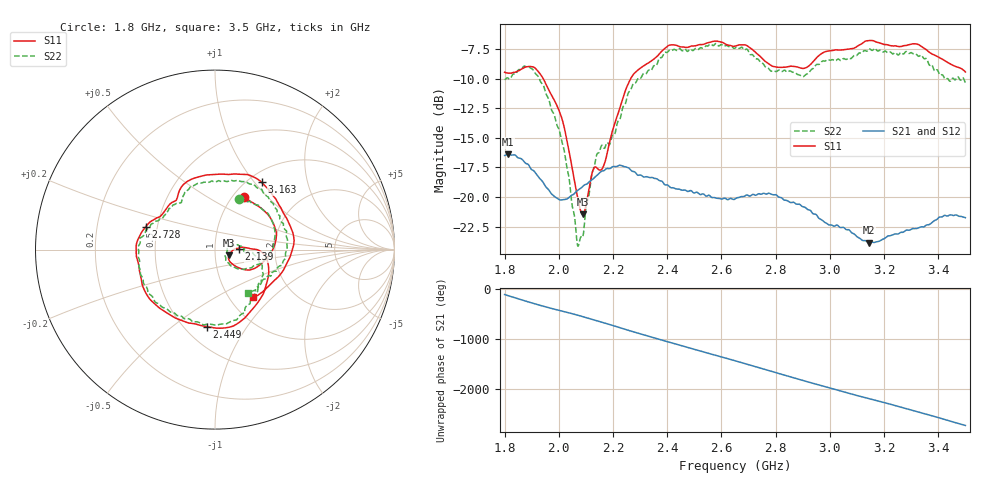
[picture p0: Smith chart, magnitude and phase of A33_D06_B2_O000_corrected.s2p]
! Created with skrf 1.9.0 (http://scikit-rf.org).
# Hz S RI R 50.0
!freq ReS11 ImS11 ReS21 ImS21 ReS12 ImS12 ReS22 ImS22
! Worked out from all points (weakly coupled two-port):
!   1601 points, 1.8 GHz to 3.5 GHz, reference 50 ohm
!   highest |S21| = -16.40 dB at 1.812 GHz (marker M1); lowest = -23.9 dB at 3.143 GHz (marker M2)
!   lowest |S11| = -21.5 dB at 2.089 GHz (marker M3), VSWR 1.18, Z = 58.4 - j3.65 ohm
!   |S11| at or under -10 dB: 1.943 GHz to 2.265 GHz (322.5 MHz wide, 15.3 % of centre)
!   |S22| runs from -24.2 to -7.0 dB; largest |S21 - S12| = 0.0026
!   S11 on the Smith chart (normalised r, x): 1.8 GHz: 1.12, +0.75; 2.139 GHz: 1.31, +0.01; 2.449 GHz: 0.64, -0.67; 2.728 GHz: 0.43, +0.13; 3.163 GHz: 1.15, +1.09; 3.5 GHz: 1.28, -0.76
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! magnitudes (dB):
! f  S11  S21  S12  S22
! 1.8 GHz  -9.5  -16.5  -16.5  -10.1
! 1.812 GHz  -9.5  -16.4  -16.4  -9.9
! 1.881 GHz  -9.0  -17.2  -17.2  -9.0
! 1.942 GHz  -10.0  -18.8  -18.8  -10.5
! 2.013 GHz  -13.5  -20.2  -20.2  -15.4
! 2.068 GHz  -19.8  -19.5  -19.5  -23.9
! 2.084 GHz  -21.4  -19.2  -19.2  -23.4
! 2.089 GHz  -21.5  -19.1  -19.1  -23.3
! 2.139 GHz  -17.5  -18.2  -18.2  -16.5
! 2.167 GHz  -17.3  -17.8  -17.7  -15.9
! 2.265 GHz  -10.0  -17.7  -17.7  -10.9
! 2.367 GHz  -8.0  -18.6  -18.5  -8.4
! 2.449 GHz  -7.3  -19.4  -19.4  -7.5
! 2.65 GHz  -7.2  -20.2  -20.1  -7.4
! 2.728 GHz  -7.8  -19.9  -19.9  -8.3
! 2.8 GHz  -9.0  -19.8  -19.8  -9.4
! 2.934 GHz  -8.7  -21.3  -21.3  -9.2
! 3.143 GHz  -6.8  -23.9  -23.8  -7.5
! 3.163 GHz  -6.8  -23.9  -23.8  -7.5
! 3.217 GHz  -7.2  -23.3  -23.3  -7.8
! 3.324 GHz  -7.1  -22.6  -22.6  -8.0
! 3.5 GHz  -9.4  -21.7  -21.7  -10.4
